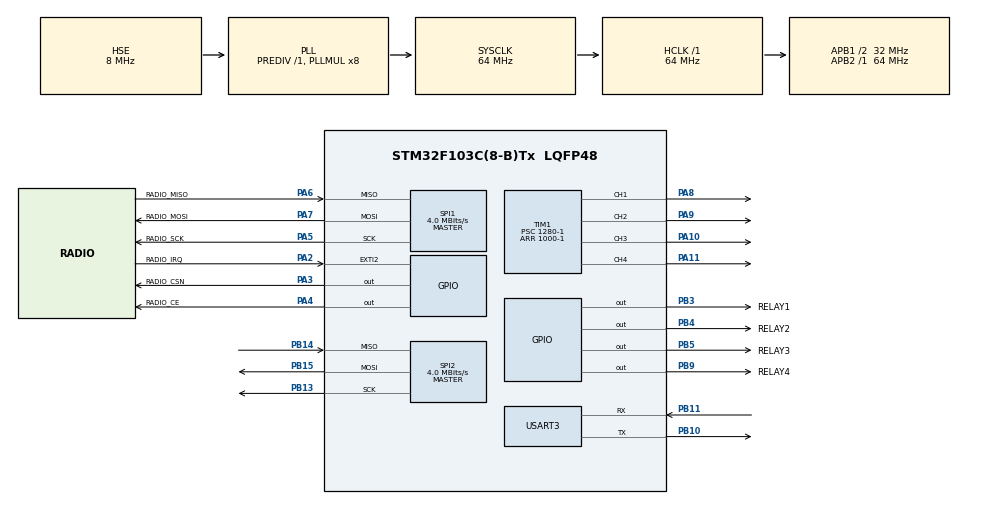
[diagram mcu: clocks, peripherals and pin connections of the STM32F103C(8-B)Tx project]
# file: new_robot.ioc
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Mcu.Family=STM32F1
Mcu.Name=STM32F103C(8-B)Tx
Mcu.Package=LQFP48
NVIC.PriorityGroup=NVIC_PRIORITYGROUP_4
PA10.Signal=S_TIM1_CH3
PA11.Signal=S_TIM1_CH4
PA2.GPIO_Label=RADIO_IRQ
PA2.GPIO_ModeDefaultEXTI=GPIO_MODE_IT_FALLING
PA2.Signal=GPXTI2
PA3.GPIO_Label=RADIO_CSN
PA3.Signal=GPIO_Output
PA4.GPIO_Label=RADIO_CE
PA4.Signal=GPIO_Output
PA5.GPIO_Label=RADIO_SCK
PA5.Mode=Full_Duplex_Master
PA5.Signal=SPI1_SCK
PA6.GPIO_Label=RADIO_MISO
PA6.Mode=Full_Duplex_Master
PA6.Signal=SPI1_MISO
PA7.GPIO_Label=RADIO_MOSI
PA7.Mode=Full_Duplex_Master
PA7.Signal=SPI1_MOSI
PA8.Signal=S_TIM1_CH1
PA9.Signal=S_TIM1_CH2
PB10.Mode=Asynchronous
PB10.Signal=USART3_TX
PB11.Mode=Asynchronous
PB11.Signal=USART3_RX
PB13.Mode=Full_Duplex_Master
PB13.Signal=SPI2_SCK
PB14.Mode=Full_Duplex_Master
PB14.Signal=SPI2_MISO
PB15.Mode=Full_Duplex_Master
PB15.Signal=SPI2_MOSI
PB3.GPIO_Label=RELAY1
PB3.Signal=GPIO_Output
PB4.GPIO_Label=RELAY2
PB4.Signal=GPIO_Output
PB5.GPIO_Label=RELAY3
PB5.Signal=GPIO_Output
PB9.GPIO_Label=RELAY4
PB9.Signal=GPIO_Output
PD0-OSC_IN.Mode=HSE-External-Oscillator
PD0-OSC_IN.Signal=RCC_OSC_IN
PD1-OSC_OUT.Mode=HSE-External-Oscillator
PD1-OSC_OUT.Signal=RCC_OSC_OUT
ProjectManager.HeapSize=0x200
ProjectManager.StackSize=0x400
ProjectManager.TargetToolchain=STM32CubeIDE
RCC.AHBFreq_Value=64000000
RCC.APB1CLKDivider=RCC_HCLK_DIV2
RCC.APB1Freq_Value=32000000
RCC.APB1TimFreq_Value=64000000
RCC.APB2Freq_Value=64000000
RCC.APB2TimFreq_Value=64000000
RCC.HCLKFreq_Value=64000000
RCC.PLLMUL=RCC_PLL_MUL8
RCC.PLLSourceVirtual=RCC_PLLSOURCE_HSE
RCC.SYSCLKFreq_VALUE=64000000
RCC.SYSCLKSource=RCC_SYSCLKSOURCE_PLLCLK
RCC.USBFreq_Value=64000000
SH.S_TIM1_CH1.0=TIM1_CH1,PWM Generation1 CH1
SH.S_TIM1_CH2.0=TIM1_CH2,PWM Generation2 CH2
SH.S_TIM1_CH3.0=TIM1_CH3,Output Compare3 CH3
SH.S_TIM1_CH4.0=TIM1_CH4,PWM Generation4 CH4
SPI1.BaudRatePrescaler=SPI_BAUDRATEPRESCALER_16
SPI1.CalculateBaudRate=4.0 MBits/s
SPI1.Direction=SPI_DIRECTION_2LINES
SPI1.Mode=SPI_MODE_MASTER
SPI1.VirtualType=VM_MASTER
SPI2.BaudRatePrescaler=SPI_BAUDRATEPRESCALER_8
SPI2.CalculateBaudRate=4.0 MBits/s
SPI2.Direction=SPI_DIRECTION_2LINES
SPI2.Mode=SPI_MODE_MASTER
SPI2.VirtualType=VM_MASTER
TIM1.Channel-Output\ Compare3\ CH3=TIM_CHANNEL_3
TIM1.Channel-PWM\ Generation1\ CH1=TIM_CHANNEL_1
TIM1.Channel-PWM\ Generation2\ CH2=TIM_CHANNEL_2
TIM1.Channel-PWM\ Generation4\ CH4=TIM_CHANNEL_4
TIM1.Period=1000-1
TIM1.Prescaler=1280-1
USART3.VirtualMode=VM_ASYNC
VP_SYS_VS_ND.Mode=No_Debug
VP_TIM1_VS_ClockSourceINT.Mode=Internal
board=custom

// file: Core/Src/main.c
/* USER CODE BEGIN Header */
/**
 ******************************************************************************
 * @file           : main.c
 * @brief          : Main program body
 ******************************************************************************
 * @attention
 *
 * Copyright (c) 2024 STMicroelectronics.
 * All rights reserved.
 *
 * This software is licensed under terms that can be found in the LICENSE file
 * in the root directory of this software component.
 * If no LICENSE file comes with this software, it is provided AS-IS.
 *
 ******************************************************************************
 */
/* USER CODE END Header */
#include "main.h"
#include "spi.h"
#include "tim.h"
#include "usart.h"
#include "gpio.h"

/* USER CODE BEGIN Includes */

#include <stdio.h>

#include "rf24.h"
#include "rf24_debug.h"

#include "radio_interface.h"
#include "inverse_kinematics.h"
#include "motor_activation.h"
/* USER CODE END Includes */

/* USER CODE BEGIN PD */

#define SERIAL_UART huart3

/* USER CODE END PD */

/* USER CODE BEGIN PV */

command_t *p_cmd;
PID_TypeDef *p_PID;
rf24_dev_t *p_dev;

/* USER CODE END PV */

void SystemClock_Config(void);
/* USER CODE BEGIN PFP */

int __io_putchar(int ch);

int __io_getchar(void);

/* USER CODE END PFP */

int main(void) {

	/* MCU Configuration--------------------------------------------------------*/

	/* Reset of all peripherals, Initializes the Flash interface and the Systick. */
	HAL_Init();

	/* Configure the system clock */
	SystemClock_Config();

	/* Initialize all configured peripherals */
	MX_GPIO_Init();
	MX_SPI1_Init();
	MX_USART3_UART_Init();
	MX_TIM1_Init();
	MX_SPI2_Init();
	/* USER CODE BEGIN 2 */

	printf("liguei\r\n");

	motor_init(htim1, MOTOR_TIMER);

	rf24_dev_t device; /* Module instance */
	p_dev = &device; /* Pointer to module instance */

	/* Device config */

	/* Get default configuration */
	rf24_get_default_config(p_dev);

	/* The SPI2 was chosen in Cube */
	p_dev->platform_setup.hspi = &hspi1;

	/* CSN on pin PC6 */
	p_dev->platform_setup.csn_port = RADIO_CSN_GPIO_Port;
	p_dev->platform_setup.csn_pin = RADIO_CSN_Pin;

	/* IRQ on pin PC7 */
	p_dev->platform_setup.irq_port = RADIO_IRQ_GPIO_Port;
	p_dev->platform_setup.irq_pin = RADIO_IRQ_Pin;

	/* CE on pin PC8 */
	p_dev->platform_setup.ce_port = RADIO_CE_GPIO_Port;
	p_dev->platform_setup.ce_pin = RADIO_CE_Pin;

	p_dev->payload_size = PAYLOAD_SIZE;

	rf24_init(p_dev);

	uint8_t addresses[2][5] = { { 0xB9, 0xB7, 0xE7, 0xE9, 0xC2 }, { 0xB9, 0xB7,
			0xE7, 0xE9, 0xC3 } };

	rf24_open_writing_pipe(p_dev, addresses[1]);
	rf24_open_reading_pipe(p_dev, 1, addresses[0]);

	rf24_start_listening(p_dev);
	//HAL_TIM_Base_Start_IT(&htim2);
	/* USER CODE END 2 */

	/* Infinite loop */
	/* USER CODE BEGIN WHILE */
	command_t cmd;
	cmd.vx = 0;
	cmd.vy = 0;
	cmd.vtheta = 0;
	p_cmd = &cmd;

	PID_TypeDef TPIDVTheta;
	p_PID = &TPIDVTheta;

	inverse_kinematics_init();
	float *inverse_kinematics_result;

	uint8_t buffer[PAYLOAD_SIZE];

	rf24_status_t read_status;

	while (1) {
		/* USER CODE END WHILE */

		/* USER CODE BEGIN 3 */

		read_status = RF24_UNKNOWN_ERROR;

		if ((rf24_available(p_dev, NULL)) == RF24_SUCCESS) {
			while ((rf24_available(p_dev, NULL)) == RF24_SUCCESS) {
				read_status = rf24_read(p_dev, buffer, p_dev->payload_size);
			}
		}

		if (read_status == RF24_SUCCESS)
			get_command_from_buffer(buffer, p_cmd, p_PID);

		/*
		 printf("[%d, %f, %f, %f, %d, %f, %f, %f]\r\n", buffer[0], cmd->vx,
		 cmd->vy, cmd->vtheta, buffer[13], uPID->Kp, uPID->Ki, uPID->Kd);
		 * */
		printf("vx: %f\r\n", p_cmd->vx);

		//calculate_wheel_speed(p_cmd, 0.0);
		/*]
		 printf("[%f, %f, %f, %f]\r\n", inverse_kinematics_result[0],
		 inverse_kinematics_result[1], inverse_kinematics_result[2],
		 inverse_kinematics_result[3]);
		 * */

		//write_speed_to_motors(MOTOR_TIMER, inverse_kinematics_result);
	}
	/* USER CODE END 3 */
}

void SystemClock_Config(void) {
	RCC_OscInitTypeDef RCC_OscInitStruct = { 0 };
	RCC_ClkInitTypeDef RCC_ClkInitStruct = { 0 };

	/** Initializes the RCC Oscillators according to the specified parameters
	 * in the RCC_OscInitTypeDef structure.
	 */
	RCC_OscInitStruct.OscillatorType = RCC_OSCILLATORTYPE_HSE;
	RCC_OscInitStruct.HSEState = RCC_HSE_ON;
	RCC_OscInitStruct.HSEPredivValue = RCC_HSE_PREDIV_DIV1;
	RCC_OscInitStruct.HSIState = RCC_HSI_ON;
	RCC_OscInitStruct.PLL.PLLState = RCC_PLL_ON;
	RCC_OscInitStruct.PLL.PLLSource = RCC_PLLSOURCE_HSE;
	RCC_OscInitStruct.PLL.PLLMUL = RCC_PLL_MUL8;
	if (HAL_RCC_OscConfig(&RCC_OscInitStruct) != HAL_OK) {
		Error_Handler();
	}

	/** Initializes the CPU, AHB and APB buses clocks
	 */
	RCC_ClkInitStruct.ClockType = RCC_CLOCKTYPE_HCLK | RCC_CLOCKTYPE_SYSCLK
			| RCC_CLOCKTYPE_PCLK1 | RCC_CLOCKTYPE_PCLK2;
	RCC_ClkInitStruct.SYSCLKSource = RCC_SYSCLKSOURCE_PLLCLK;
	RCC_ClkInitStruct.AHBCLKDivider = RCC_SYSCLK_DIV1;
	RCC_ClkInitStruct.APB1CLKDivider = RCC_HCLK_DIV2;
	RCC_ClkInitStruct.APB2CLKDivider = RCC_HCLK_DIV1;

	if (HAL_RCC_ClockConfig(&RCC_ClkInitStruct, FLASH_LATENCY_2) != HAL_OK) {
		Error_Handler();
	}
}

/* USER CODE BEGIN 4 */

int __io_putchar(int ch) {
	HAL_UART_Transmit(&SERIAL_UART, (uint8_t*) &ch, 1, HAL_MAX_DELAY);
	return ch;
}

int __io_getchar(void) {
	uint8_t ch = 0;

	/* Clear the Overrun flag just before receiving the first character */
	__HAL_UART_CLEAR_OREFLAG(&SERIAL_UART);

	/* Wait for reception of a character on the USART RX line and echo this
	 * character on console */
	HAL_UART_Receive(&SERIAL_UART, (uint8_t*) &ch, 1, HAL_MAX_DELAY);
	HAL_UART_Transmit(&SERIAL_UART, (uint8_t*) &ch, 1, HAL_MAX_DELAY);
	return ch;
}

void HAL_TIM_PeriodElapsedCallback(TIM_HandleTypeDef *htim) {
	/*
	 * */
	if (htim->Instance == TIM2) {

	}
}
/* USER CODE END 4 */

void Error_Handler(void) {
	__disable_irq();
	while (1) {
	}
}
